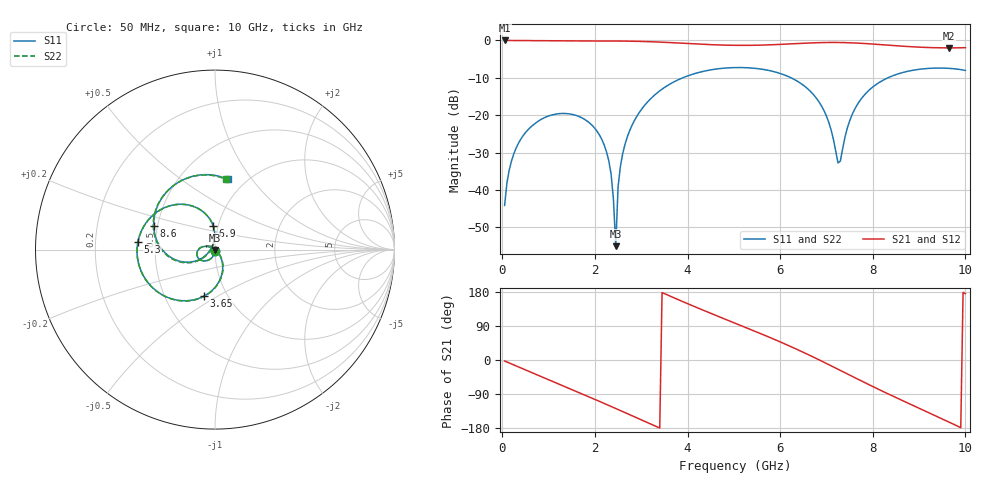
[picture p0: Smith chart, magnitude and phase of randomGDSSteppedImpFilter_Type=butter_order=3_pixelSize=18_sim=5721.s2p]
! freq	dB(S11)	phase(S11)	dB(S12)	phase(S12)
!  dB(S21)	phase(S21)	dB(S22)	phase(S22)
!S-par simulation data
#  GHz  S  DB  R 50
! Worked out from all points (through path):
!   200 points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, 50 MHz to 10 GHz, reference 50 ohm
!   highest |S21| = 0.00 dB at 50 MHz (marker M1); lowest = -2.0 dB at 9.65 GHz (marker M2)
!   group delay of S21, straight-line fit = 150 ps
!   lowest |S11| = -55.0 dB at 2.45 GHz (marker M3), VSWR 1.00, Z = 50.1 - j0.167 ohm
!   |S11| at or under -10 dB: start of sweep to 3.894 GHz; 6.237 GHz to 8.325 GHz (2.088 GHz wide, 28.7 % of centre)
!   |S22| runs from -55.0 to -7.2 dB; largest |S21 - S12| = 0
!   S11 on the Smith chart (normalised r, x): 50 MHz: 1.00, -0.01; 3.65 GHz: 0.78, -0.43; 5.3 GHz: 0.40, +0.04; 6.9 GHz: 0.95, +0.25; 8.6 GHz: 0.48, +0.14; 10 GHz: 0.83, +0.77
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0.05  -44.13 -92.0  -0.00 -2.6  -0.00 -2.6  -44.13 -92.0
0.2  -32.16 -100.3  -0.02 -10.5  -0.02 -10.5  -32.16 -100.4
0.55  -23.94 -118.6  -0.06 -28.8  -0.06 -28.8  -23.94 -118.7
1.75  -20.90 178.6  -0.14 -90.9  -0.14 -90.9  -20.91 178.0
2.25  -29.75 153.1  -0.14 -117.2  -0.14 -117.2  -29.76 150.8
2.35  -35.80 149.2  -0.15 -122.6  -0.15 -122.6  -35.82 144.2
2.45  -55.01 -69.5  -0.15 -127.9  -0.15 -127.9  -55.05 -11.0
2.5  -39.20 -45.7  -0.16 -130.6  -0.16 -130.6  -39.18 -37.6
2.65  -27.77 -50.8  -0.18 -138.7  -0.18 -138.7  -27.76 -48.4
3.4  -13.47 -90.4  -0.44 -179.5  -0.44 -179.5  -13.47 -89.8
3.65  -11.45 -103.6  -0.59 167.1  -0.59 167.1  -11.45 -103.1
5.05  -7.24 -173.8  -1.31 96.0  -1.31 96.0  -7.24 -173.5
5.3  -7.30 174.1  -1.31 83.6  -1.31 83.6  -7.30 174.3
6  -8.83 139.2  -1.06 47.9  -1.06 47.9  -8.83 139.4
6.7  -14.22 103.0  -0.65 8.7  -0.65 8.7  -14.23 102.9
6.9  -17.67 94.2  -0.57 -3.1  -0.57 -3.1  -17.69 93.9
7.25  -32.76 136.2  -0.54 -24.4  -0.54 -24.4  -33.56 134.9
7.65  -17.49 -150.5  -0.70 -48.9  -0.70 -48.9  -17.52 -149.0
8.35  -9.86 173.0  -1.28 -90.5  -1.28 -90.5  -9.87 174.1
8.6  -8.74 159.1  -1.50 -104.7  -1.50 -104.7  -8.75 160.2
9.65  -7.46 100.3  -1.99 -163.9  -1.99 -163.9  -7.47 101.7
10  -8.02 79.7  -1.94 175.2  -1.94 175.2  -8.03 81.4
